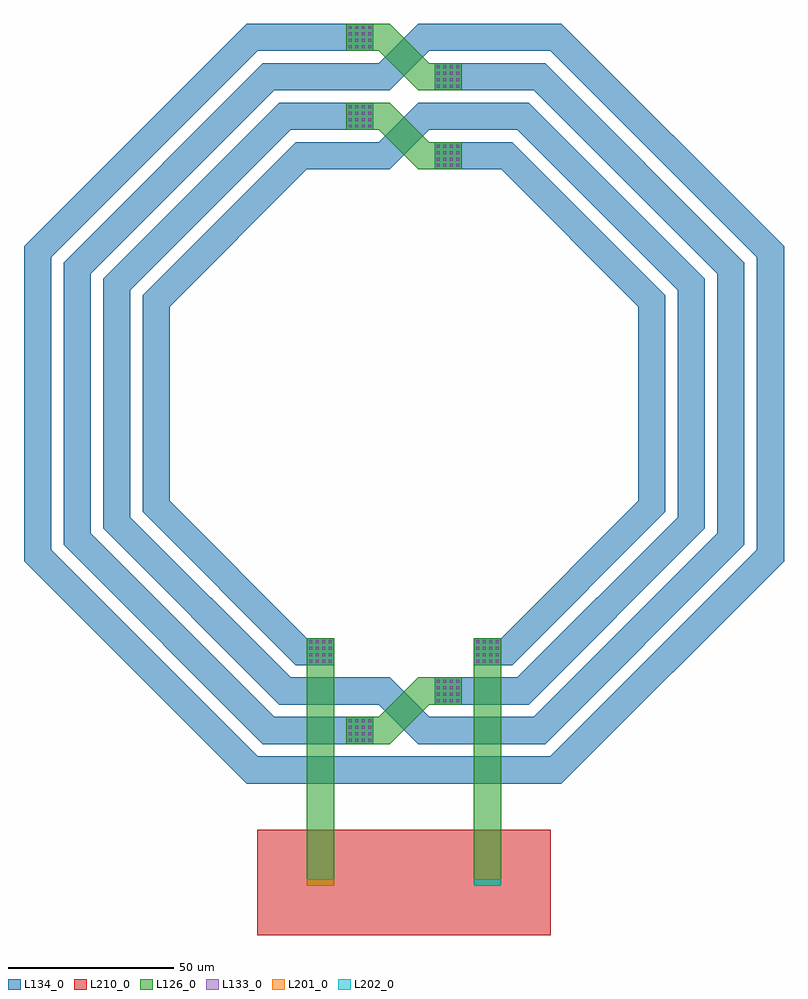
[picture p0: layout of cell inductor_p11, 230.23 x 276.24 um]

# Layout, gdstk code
import gdstk
lib = gdstk.Library(unit=1e-6, precision=1e-09)
def R(c, l, rs):  # rectangles x0, y0, x1, y1
    for r in rs: c.add(gdstk.rectangle(r[:2], r[2:], *l))
def A(c, l, x, y, w, h, nx, ny, dx, dy):  # array of equal rectangles
    R(c, l, [(x+i*dx, y+j*dy, x+i*dx+w, y+j*dy+h) for i in range(nx) for j in range(ny)])
def P(c, l, *ps):  # polygons
    for p in ps: c.add(gdstk.Polygon(p, *l))
L126_0 = (126, 0)
L133_0 = (133, 0)
L134_0 = (134, 0)
L201_0 = (201, 0)
L202_0 = (202, 0)
L210_0 = (210, 0)

inductor_p11 = lib.new_cell('inductor_p11')
R(inductor_p11, L126_0, [(-29.425,-1,-21.205,74.1), (21.205,-1,29.425,74.1)])
P(inductor_p11, L126_0, [(4.3,216.075),(-7.68,228.055),(-17.465,228.055),(-17.465,236.275),(-4.3,236.275),(7.68,224.295),(17.465,224.295),(17.465,216.075)],
  [(4.3,240.035),(-7.68,252.015),(-17.465,252.015),(-17.465,260.235),(-4.3,260.235),(7.68,248.255),(17.465,248.255),(17.465,240.035)],
  [(-17.465,41.96),(-17.465,50.18),(-7.69,50.18),(4.27,62.14),(17.475,62.14),(17.475,53.92),(7.68,53.92),(-4.28,41.96)])
A(inductor_p11, L133_0, -16.745, 42.68, 0.9, 0.9, 4, 4, 1.96, 1.96)
A(inductor_p11, L133_0, 9.975, 54.64, 0.9, 0.9, 4, 4, 1.96, 1.96)
A(inductor_p11, L133_0, -28.705, 66.6, 0.9, 0.9, 4, 4, 1.96, 1.96)
A(inductor_p11, L133_0, 21.925, 66.6, 0.9, 0.9, 4, 4, 1.96, 1.96)
A(inductor_p11, L133_0, 9.965, 216.795, 0.9, 0.9, 4, 4, 1.96, 1.96)
A(inductor_p11, L133_0, -16.745, 228.755, 0.9, 0.9, 4, 4, 1.96, 1.96)
A(inductor_p11, L133_0, 9.965, 240.755, 0.9, 0.9, 4, 4, 1.96, 1.96)
A(inductor_p11, L133_0, -16.745, 252.715, 0.9, 0.9, 4, 4, 1.96, 1.96)
R(inductor_p11, L134_0, [(-9.245,30,9.245,38.22)])
P(inductor_p11, L134_0, [(21.205,65.88),(21.205,74.1),(29.4,74.1),(70.988,115.687),(70.988,174.487),(29.4,216.075),(9.245,216.075),(9.245,224.295),(32.815,224.295),(79.208,177.902),(79.208,112.272),(32.815,65.88)],
  [(-32.815,65.88),(-79.208,112.272),(-79.208,177.902),(-32.815,224.295),(-9.245,224.295),(-9.245,216.075),(-29.4,216.075),(-70.988,174.487),(-70.988,115.687),(-29.4,74.1),(-21.205,74.1),(-21.205,65.88)],
  [(-9.245,216.075),(-9.245,224.295),(-7.68,224.295),(4.3,236.275),(9.245,236.275),(9.245,228.055),(7.71,228.055),(-4.27,216.075)],
  [(9.245,53.92),(9.245,62.14),(34.36,62.14),(82.958,110.737),(82.958,179.457),(34.36,228.055),(9.245,228.055),(9.245,236.275),(37.775,236.275),(91.178,182.872),(91.178,107.322),(37.775,53.92)],
  [(-37.775,53.92),(-91.178,107.322),(-91.178,182.872),(-37.775,236.275),(-9.245,236.275),(-9.245,228.055),(-34.36,228.055),(-82.958,179.457),(-82.958,110.737),(-34.36,62.14),(-9.245,62.14),(-9.245,53.92)],
  [(9.245,41.96),(9.245,50.18),(39.32,50.18),(94.928,105.788),(94.928,184.428),(39.32,240.035),(9.245,240.035),(9.245,248.255),(42.735,248.255),(103.148,187.843),(103.148,102.372),(42.735,41.96)],
  [(-42.735,41.96),(-103.148,102.372),(-103.148,187.843),(-42.735,248.255),(-9.245,248.255),(-9.245,240.035),(-39.32,240.035),(-94.928,184.428),(-94.928,105.788),(-39.32,50.18),(-9.245,50.18),(-9.245,41.96)],
  [(-9.245,240.035),(-9.245,248.255),(-7.68,248.255),(4.3,260.235),(9.245,260.235),(9.245,252.015),(7.71,252.015),(-4.27,240.035)],
  [(4.28,41.96),(-7.68,53.92),(-9.245,53.92),(-9.245,62.14),(-4.27,62.14),(7.69,50.18),(9.245,50.18),(9.245,41.96)],
  [(9.245,30),(9.245,38.22),(44.275,38.22),(106.898,100.842),(106.898,189.392),(44.275,252.015),(9.245,252.015),(9.245,260.235),(47.69,260.235),(115.117,192.807),(115.117,97.427),(47.69,30)],
  [(-47.69,30),(-115.117,97.427),(-115.117,192.807),(-47.69,260.235),(-9.245,260.235),(-9.245,252.015),(-44.275,252.015),(-106.898,189.392),(-106.898,100.842),(-44.275,38.22),(-9.245,38.22),(-9.245,30)])
R(inductor_p11, L201_0, [(-29.425,-1,-21.205,1)])
R(inductor_p11, L202_0, [(21.205,-1,29.425,1)])
R(inductor_p11, L210_0, [(-44.425,-16,44.425,16)])

lib.write_gds('inductor_p11.gds')
